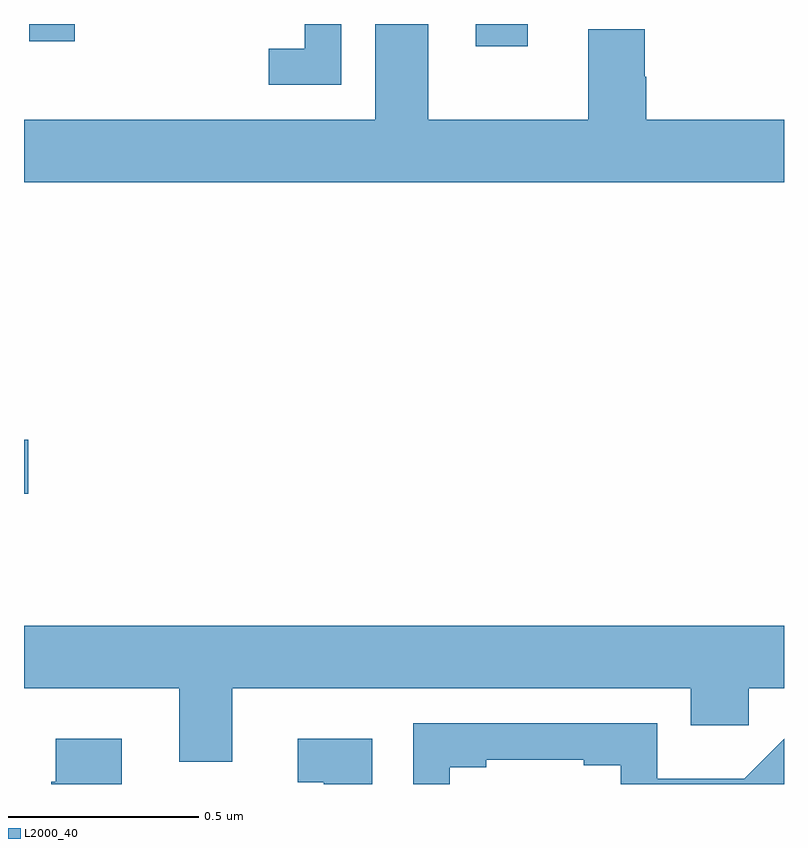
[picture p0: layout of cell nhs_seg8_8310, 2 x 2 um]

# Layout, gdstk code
import gdstk
lib = gdstk.Library(unit=1e-6, precision=1e-09)
def R(c, l, rs):  # rectangles x0, y0, x1, y1
    for r in rs: c.add(gdstk.rectangle(r[:2], r[2:], *l))
def P(c, l, *ps):  # polygons
    for p in ps: c.add(gdstk.Polygon(p, *l))
L2000_40 = (2000, 40)

nhs_seg8_8310 = lib.new_cell('nhs_seg8_8310')
R(nhs_seg8_8310, L2000_40, [(221,1131.664,221.011,1131.806), (222.189,1132.842,222.325,1132.9), (221.014,1132.854,221.133,1132.9)])
P(nhs_seg8_8310, L2000_40, [(223,1132.648),(222.638,1132.648),(222.638,1132.761),(222.633,1132.761),(222.633,1132.886),(222.485,1132.886),(222.485,1132.648),(222.064,1132.648),(222.064,1132.9),(221.924,1132.9),(221.924,1132.648),(221,1132.648),(221,1132.484),(223,1132.484)],
  [(221.835,1132.9),(221.739,1132.9),(221.739,1132.835),(221.644,1132.835),(221.644,1132.74),(221.835,1132.74)],
  [(221.548,1131.152),(222.755,1131.152),(222.755,1131.054),(222.907,1131.054),(222.907,1131.152),(223,1131.152),(223,1131.316),(221,1131.316),(221,1131.152),(221.408,1131.152),(221.408,1130.958),(221.548,1130.958)],
  [(222.121,1130.944),(222.217,1130.944),(222.217,1130.964),(222.473,1130.964),(222.473,1130.95),(222.57,1130.95),(222.57,1130.9),(223,1130.9),(223,1131.019),(222.895,1130.914),(222.666,1130.914),(222.666,1131.06),(222.024,1131.06),(222.024,1130.9),(222.121,1130.9)],
  [(221.917,1131.019),(221.721,1131.019),(221.721,1130.904),(221.789,1130.904),(221.789,1130.9),(221.917,1130.9)],
  [(221.257,1131.019),(221.084,1131.019),(221.084,1130.906),(221.072,1130.906),(221.072,1130.9),(221.257,1130.9)])

lib.write_gds('nhs_seg8_8310.gds')
